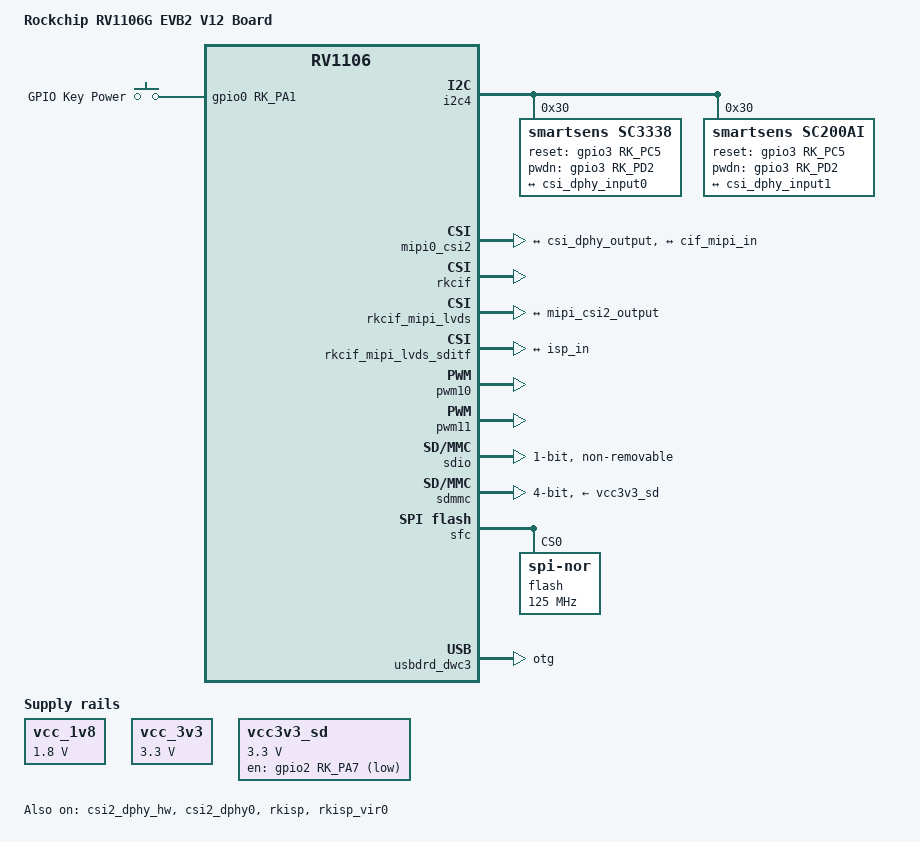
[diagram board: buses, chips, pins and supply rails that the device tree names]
// SPDX-License-Identifier: (GPL-2.0+ OR MIT)
/*
 * Copyright (c) 2023 Rockchip Electronics Co., Ltd.
 */

/dts-v1/;

#include "rv1106.dtsi"
#include "rv1106-evb-v10.dtsi"

/ {
	model = "Rockchip RV1106G EVB2 V12 Board";
	compatible = "rockchip,rv1106g-evb2-v12-wakeup", "rockchip,rv1106";

	reserved-memory {
		#address-cells = <1>;
		#size-cells = <1>;
		ranges;

		rtos: rtos@40000 {
			reg = <0x40000 0x3c000>;
		};

	};

	vcc_1v8: vcc-1v8 {
		compatible = "regulator-fixed";
		regulator-name = "vcc_1v8";
		regulator-always-on;
		regulator-boot-on;
		regulator-min-microvolt = <1800000>;
		regulator-max-microvolt = <1800000>;
	};

	vcc_3v3: vcc-3v3 {
		compatible = "regulator-fixed";
		regulator-name = "vcc_3v3";
		regulator-always-on;
		regulator-boot-on;
		regulator-min-microvolt = <3300000>;
		regulator-max-microvolt = <3300000>;
	};

	vcc3v3_sd: vcc3v3-sd {
		compatible = "regulator-fixed";
		gpio = <&gpio2 RK_PA7 GPIO_ACTIVE_LOW>;
		regulator-name = "vcc3v3_sd";
		regulator-min-microvolt = <3300000>;
		regulator-max-microvolt = <3300000>;
		pinctrl-names = "default";
		pinctrl-0 = <&sdmmc_pwren>;
	};

	wireless_wlan: wireless-wlan {
		compatible = "wlan-platdata";
		WIFI,host_wake_irq = <&gpio1 RK_PB0 GPIO_ACTIVE_HIGH>;
		status = "disabled";
	};

	gpio-keys {
		compatible = "gpio-keys";
		autorepeat;
		pinctrl-names = "default";
		pinctrl-0 = <&pwr_key>;
		power-key {
			gpios = <&gpio0 RK_PA1 GPIO_ACTIVE_HIGH>;
			linux,code = <KEY_POWER>;
			label ="GPIO Key Power";
			debounce-interval = <100>;
			wakeup-source;
			/* gpio-key,wakeup; */
		};
	};
};

&pinctrl {
	buttons {
		pwr_key: pwr-key {
			rockchip,pins = <0 RK_PA1 RK_FUNC_GPIO &pcfg_pull_none>;
		};
	};
};

&csi2_dphy_hw {
	status = "okay";
};

&csi2_dphy0 {
	status = "okay";

	ports {
		#address-cells = <1>;
		#size-cells = <0>;

		port@0 {
			reg = <0>;
			#address-cells = <1>;
			#size-cells = <0>;

			csi_dphy_input0: endpoint@0 {
				reg = <0>;
				remote-endpoint = <&sc3338_out>;
				data-lanes = <1 2>;
			};

			csi_dphy_input1: endpoint@1 {
				reg = <1>;
				remote-endpoint = <&sc200ai_out>;
				data-lanes = <1 2>;
			};
		};

		port@1 {
			reg = <1>;
			#address-cells = <1>;
			#size-cells = <0>;

			csi_dphy_output: endpoint@0 {
				reg = <0>;
				remote-endpoint = <&mipi_csi2_input>;
			};
		};
	};
};

&emmc {
	status = "disabled";
};

&fiq_debugger {
	rockchip,baudrate = <1500000>;
	pinctrl-names = "default";
	pinctrl-0 = <&uart2m1_xfer>;
};

&i2c4 {
	rockchip,amp-shared;

	sc3338: sc3338@30 {
		compatible = "smartsens,sc3338";
		status = "okay";
		reg = <0x30>;
		clocks = <&cru MCLK_REF_MIPI0>;
		clock-names = "xvclk";
		reset-gpios = <&gpio3 RK_PC5 GPIO_ACTIVE_HIGH>;
		pwdn-gpios = <&gpio3 RK_PD2 GPIO_ACTIVE_HIGH>;
		pinctrl-names = "default";
		pinctrl-0 = <&mipi_refclk_out0>;
		rockchip,camera-module-index = <0>;
		rockchip,camera-module-facing = "back";
		rockchip,camera-module-name = "FKO1";
		rockchip,camera-module-lens-name = "30IRC-F16";
		port {
			sc3338_out: endpoint {
				remote-endpoint = <&csi_dphy_input0>;
				data-lanes = <1 2>;
			};
		};
	};

	sc200ai: sc200ai@30 {
		compatible = "smartsens,sc200ai";
		status = "okay";
		reg = <0x30>;
		clocks = <&cru MCLK_REF_MIPI0>;
		clock-names = "xvclk";
		reset-gpios = <&gpio3 RK_PC5 GPIO_ACTIVE_HIGH>;
		pwdn-gpios = <&gpio3 RK_PD2 GPIO_ACTIVE_HIGH>;
		pinctrl-names = "default";
		pinctrl-0 = <&mipi_refclk_out0>;
		rockchip,camera-module-index = <0>;
		rockchip,camera-module-facing = "back";
		rockchip,camera-module-name = "CMK-OT2115-PC1";
		rockchip,camera-module-lens-name = "30IRC-F16";
		port {
			sc200ai_out: endpoint {
				remote-endpoint = <&csi_dphy_input1>;
				data-lanes = <1 2>;
			};
		};
	};
};

&mipi0_csi2 {
	status = "okay";

	ports {
		#address-cells = <1>;
		#size-cells = <0>;

		port@0 {
			reg = <0>;
			#address-cells = <1>;
			#size-cells = <0>;

			mipi_csi2_input: endpoint@1 {
				reg = <1>;
				remote-endpoint = <&csi_dphy_output>;
			};
		};

		port@1 {
			reg = <1>;
			#address-cells = <1>;
			#size-cells = <0>;

			mipi_csi2_output: endpoint@0 {
				reg = <0>;
				remote-endpoint = <&cif_mipi_in>;
			};
		};
	};
};

&mailbox {
	status = "okay";
};

&rkcif {
	status = "okay";
};

&rkcif_mipi_lvds {
	status = "okay";

	pinctrl-names = "default";
	pinctrl-0 = <&mipi_pins>;
	port {
		/* MIPI CSI-2 endpoint */
		cif_mipi_in: endpoint {
			remote-endpoint = <&mipi_csi2_output>;
		};
	};
};

&rkcif_mipi_lvds_sditf {
	status = "okay";

	port {
		/* MIPI CSI-2 endpoint */
		mipi_lvds_sditf: endpoint {
			remote-endpoint = <&isp_in>;
		};
	};
};

&rkisp {
	status = "okay";
};

&rkisp_vir0 {
	status = "okay";

	port@0 {
		isp_in: endpoint {
			remote-endpoint = <&mipi_lvds_sditf>;
		};
	};
};

&pinctrl {
	sdmmc {
		/omit-if-no-ref/
		sdmmc_pwren: sdmmc-pwren {
			rockchip,pins = <2 RK_PA7 RK_FUNC_GPIO &pcfg_pull_none>;
		};
	};
};

&pwm10 {
	status = "okay";
};

&pwm11 {
	status = "okay";
};

&sdio {
	max-frequency = <50000000>;
	bus-width = <1>;
	cap-sd-highspeed;
	cap-sdio-irq;
	keep-power-in-suspend;
	non-removable;
	rockchip,default-sample-phase = <90>;
	no-sd;
	no-mmc;
	supports-sdio;
	pinctrl-names = "default";
	pinctrl-0 = <&sdmmc1m0_cmd &sdmmc1m0_clk &sdmmc1m0_bus4>;
	status = "okay";
};

&sdmmc {
	max-frequency = <200000000>;
	no-sdio;
	no-mmc;
	bus-width = <4>;
	cap-mmc-highspeed;
	cap-sd-highspeed;
	disable-wp;
	pinctrl-names = "normal", "idle";
	pinctrl-0 = <&sdmmc0_clk &sdmmc0_cmd &sdmmc0_det &sdmmc0_bus4>;
	pinctrl-1 = <&sdmmc0_idle_pins &sdmmc0_det>;
	vmmc-supply = <&vcc3v3_sd>;
	status = "okay";
};

&sfc {
	assigned-clocks = <&cru SCLK_SFC>;
	assigned-clock-rates = <125000000>;
	status = "okay";

	flash@0 {
		compatible = "jedec,spi-nor";
		reg = <0>;
		spi-max-frequency = <125000000>;
		spi-rx-bus-width = <4>;
		spi-tx-bus-width = <1>;
	};
};

&usbdrd_dwc3 {
	dr_mode = "otg";
};

&acodec {
	status = "disabled";
};
